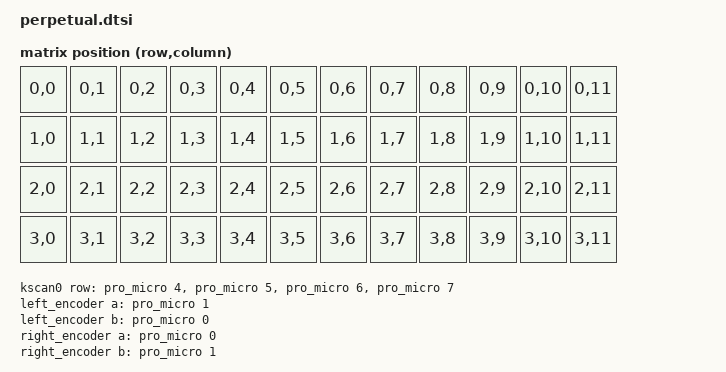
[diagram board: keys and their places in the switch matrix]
/*
 * Copyright (c) 2024 Curtis Bollinger
 *
 * SPDX-License-Identifier: MIT
 */

#include <dt-bindings/zmk/matrix_transform.h>

#include "perpetual-layouts.dtsi"

// The physical layout carries the transform, so `zmk,matrix-transform` is NOT
// chosen here -- declaring both makes the layout and the chosen transform two
// competing answers to the same question. This mirrors how a board with
// physical layouts wires it up.
&default_layout {
    transform = <&default_transform>;
};

/ {
    chosen {
        zmk,kscan = &kscan0;
    };

    /*
     * Perpetual keyboard matrix layout (48-key version)
     *
     * Physical layout per side -- 24 keys, a FULL 6 x 4 grid with no free slots:
     * - 6 columns: extra, pinky, ring, middle, index, inner
     * - 4 rows: top, home, bottom, thumb
     *
     * Left side:  columns 0-5  (extra=0, pinky=1, ring=2, middle=3, index=4, inner=5)
     * Right side: columns 6-11 (inner=6, index=7, middle=8, ring=9, pinky=10, extra=11)
     *
     * Row 3 is NOT purely a thumb row. Two of its six slots are keys that sit
     * elsewhere on the board and borrow row_thumb because it was the only place
     * left to put them:
     *
     *   col 0 (extra)  = the ARROW key, physically below the RING column.
     *                    Wired to col_extra x row_thumb, not col_ring, because
     *                    24 keys into 6x4 is an exact fit and col_extra had the
     *                    only free thumb slot. Putting it on col_ring would have
     *                    forced a 5th matrix row for a single key.
     *   col 1 (pinky)  = the UNDER-MCU key, sitting in the gap beneath the
     *                    controller. The rotary encoder's push switch is wired
     *                    in PARALLEL with it, so pressing the encoder and
     *                    pressing this key are the same matrix event.
     *
     * Everything else on row 3 is the thumb cluster proper:
     *   col 2 = enc_thumb (a plain key now -- the encoder moved to col 1)
     *   col 3 = near_thumb, col 4 = mid_thumb, col 5 = far_thumb
     *
     * The map below is in NUMERIC RC order, which is also the order
     * perpetual.json emits its physical-layout entries in. Those two orders
     * define the same key-position indices and must not drift apart.
     */
    default_transform: keymap_transform_0 {
        compatible = "zmk,matrix-transform";
        columns = <12>;
        rows = <4>;
        map = <
            // Row 0: Top row (6 + 6 = 12 keys)
            RC(0,0) RC(0,1) RC(0,2) RC(0,3) RC(0,4) RC(0,5)     RC(0,6) RC(0,7) RC(0,8) RC(0,9) RC(0,10) RC(0,11)
            // Row 1: Home row (6 + 6 = 12 keys)
            RC(1,0) RC(1,1) RC(1,2) RC(1,3) RC(1,4) RC(1,5)     RC(1,6) RC(1,7) RC(1,8) RC(1,9) RC(1,10) RC(1,11)
            // Row 2: Bottom row (6 + 6 = 12 keys -- extra column now populated)
            RC(2,0) RC(2,1) RC(2,2) RC(2,3) RC(2,4) RC(2,5)     RC(2,6) RC(2,7) RC(2,8) RC(2,9) RC(2,10) RC(2,11)
            // Row 3: arrow, under-MCU (= encoder push), then 4 thumb keys per side
            RC(3,0) RC(3,1) RC(3,2) RC(3,3) RC(3,4) RC(3,5)     RC(3,6) RC(3,7) RC(3,8) RC(3,9) RC(3,10) RC(3,11)
        >;
    };

    kscan0: kscan {
        compatible = "zmk,kscan-gpio-matrix";
        wakeup-source;

        diode-direction = "col2row";
        row-gpios
            = <&pro_micro 4 (GPIO_ACTIVE_HIGH | GPIO_PULL_DOWN)>  // row_top
            , <&pro_micro 5 (GPIO_ACTIVE_HIGH | GPIO_PULL_DOWN)>  // row_home
            , <&pro_micro 6 (GPIO_ACTIVE_HIGH | GPIO_PULL_DOWN)>  // row_bottom
            , <&pro_micro 7 (GPIO_ACTIVE_HIGH | GPIO_PULL_DOWN)>  // row_thumb
            ;
    };

    // Encoder configuration.
    //
    // The encoder moved from the thumb cluster to the under-MCU position, but its
    // A/B wiring did not change: encoder_a is still on P0 and encoder_b on P1
    // (ergogen config.yaml, ceoloide/rotary_encoder_ec11_ec12). The a/b swap
    // between the two nodes compensates for the board being mirrored, so a
    // clockwise turn reads the same direction on both halves.
    left_encoder: encoder_left {
        compatible = "alps,ec11";
        a-gpios = <&pro_micro 1 (GPIO_ACTIVE_HIGH | GPIO_PULL_UP)>;
        b-gpios = <&pro_micro 0 (GPIO_ACTIVE_HIGH | GPIO_PULL_UP)>;
        steps = <60>;
        status = "disabled";
    };

    right_encoder: encoder_right {
        compatible = "alps,ec11";
        a-gpios = <&pro_micro 0 (GPIO_ACTIVE_HIGH | GPIO_PULL_UP)>;
        b-gpios = <&pro_micro 1 (GPIO_ACTIVE_HIGH | GPIO_PULL_UP)>;
        steps = <60>;
        status = "disabled";
    };

    sensors: sensors {
        compatible = "zmk,keymap-sensors";
        sensors = <&left_encoder &right_encoder>;
        triggers-per-rotation = <20>;
    };
};
